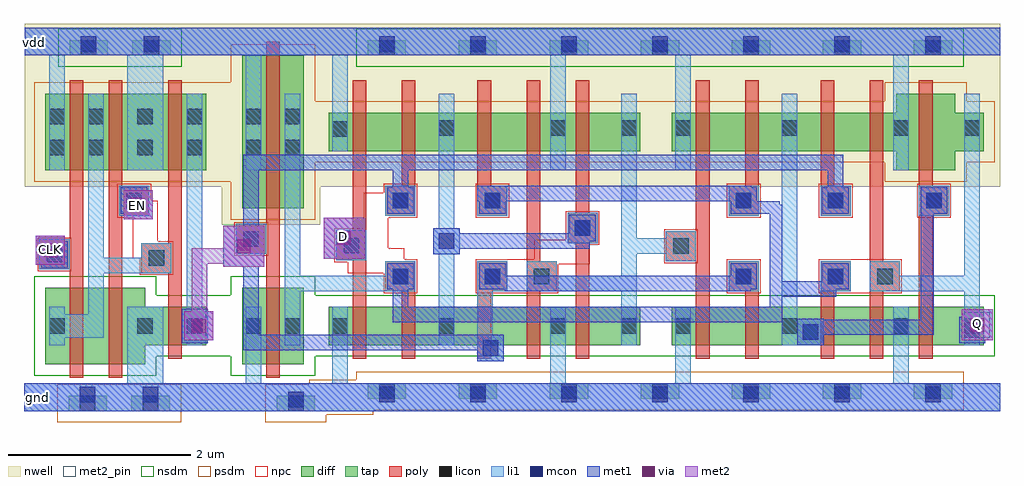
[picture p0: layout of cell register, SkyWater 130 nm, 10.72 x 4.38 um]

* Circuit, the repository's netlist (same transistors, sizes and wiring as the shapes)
* NGSPICE file created from register.ext - technology: sky130A

.subckt d_flip_flop CLK D Q gnd vdd
X0 inverter_1_out common_1 vdd vdd sky130_fd_pr__pfet_01v8 ad=0.235 pd=1.96 as=0.0819 ps=0.81 w=0.42 l=0.15
X1 gnd inverter_1_out a_494_0# gnd sky130_fd_pr__nfet_01v8 ad=0.0819 pd=0.81 as=0.0819 ps=0.81 w=0.42 l=0.15
X2 common_2 CLK_n a_974_426# vdd sky130_fd_pr__pfet_01v8 ad=0.143 pd=1.1 as=0.0819 ps=0.81 w=0.42 l=0.15
X3 gnd Q a_1248_0# gnd sky130_fd_pr__nfet_01v8 ad=0.0819 pd=0.81 as=0.0819 ps=0.81 w=0.42 l=0.15
X4 a_974_0# inverter_1_out gnd gnd sky130_fd_pr__nfet_01v8 ad=0.0819 pd=0.81 as=0.111 ps=1.37 w=0.42 l=0.15
X5 a_220_426# D vdd vdd sky130_fd_pr__pfet_01v8 ad=0.0819 pd=0.81 as=0.111 ps=1.37 w=0.42 l=0.15
X6 a_494_0# CLK common_1 gnd sky130_fd_pr__nfet_01v8 ad=0.0819 pd=0.81 as=0.143 ps=1.1 w=0.42 l=0.15
X7 a_1248_0# CLK_n common_2 gnd sky130_fd_pr__nfet_01v8 ad=0.0819 pd=0.81 as=0.143 ps=1.1 w=0.42 l=0.15
X8 CLK_n CLK vdd vdd sky130_fd_pr__pfet_01v8 ad=0.445 pd=3.89 as=0.445 ps=3.89 w=1.68 l=0.15
X9 common_1 CLK a_220_426# vdd sky130_fd_pr__pfet_01v8 ad=0.143 pd=1.1 as=0.0819 ps=0.81 w=0.42 l=0.15
X10 Q common_2 vdd vdd sky130_fd_pr__pfet_01v8 ad=0.34 pd=2.8 as=0.134 ps=1.23 w=0.84 l=0.15
X11 a_1248_426# CLK common_2 vdd sky130_fd_pr__pfet_01v8 ad=0.0819 pd=0.81 as=0.143 ps=1.1 w=0.42 l=0.15
X12 CLK_n CLK gnd gnd sky130_fd_pr__nfet_01v8 ad=0.223 pd=2.21 as=0.223 ps=2.21 w=0.84 l=0.15
X13 common_1 CLK_n a_220_0# gnd sky130_fd_pr__nfet_01v8 ad=0.143 pd=1.1 as=0.0819 ps=0.81 w=0.42 l=0.15
X14 vdd Q a_1248_426# vdd sky130_fd_pr__pfet_01v8 ad=0.134 pd=1.23 as=0.0819 ps=0.81 w=0.42 l=0.15
X15 common_2 CLK a_974_0# gnd sky130_fd_pr__nfet_01v8 ad=0.143 pd=1.1 as=0.0819 ps=0.81 w=0.42 l=0.15
X16 inverter_1_out common_1 gnd gnd sky130_fd_pr__nfet_01v8 ad=0.235 pd=1.96 as=0.0819 ps=0.81 w=0.42 l=0.15
X17 Q common_2 gnd gnd sky130_fd_pr__nfet_01v8 ad=0.235 pd=1.96 as=0.0819 ps=0.81 w=0.42 l=0.15
X18 a_494_426# CLK_n common_1 vdd sky130_fd_pr__pfet_01v8 ad=0.0819 pd=0.81 as=0.143 ps=1.1 w=0.42 l=0.15
X19 a_974_426# inverter_1_out vdd vdd sky130_fd_pr__pfet_01v8 ad=0.0819 pd=0.81 as=0.111 ps=1.37 w=0.42 l=0.15
X20 a_220_0# D gnd gnd sky130_fd_pr__nfet_01v8 ad=0.0819 pd=0.81 as=0.111 ps=1.37 w=0.42 l=0.15
X21 vdd inverter_1_out a_494_426# vdd sky130_fd_pr__pfet_01v8 ad=0.0819 pd=0.81 as=0.0819 ps=0.81 w=0.42 l=0.15
.ends

.subckt and2 A B Y gnd vdd
X0 vdd B Y_n vdd sky130_fd_pr__pfet_01v8 ad=0.212 pd=1.35 as=0.118 ps=1.12 w=0.84 l=0.15
X1 Y Y_n vdd vdd sky130_fd_pr__pfet_01v8 ad=0.223 pd=2.21 as=0.212 ps=1.35 w=0.84 l=0.15
X2 Y Y_n gnd gnd sky130_fd_pr__nfet_01v8 ad=0.111 pd=1.37 as=0.159 ps=1.35 w=0.42 l=0.15
X3 Y_n A vdd vdd sky130_fd_pr__pfet_01v8 ad=0.118 pd=1.12 as=0.223 ps=2.21 w=0.84 l=0.15
X4 gnd B a_30_n42# gnd sky130_fd_pr__nfet_01v8 ad=0.159 pd=1.35 as=0.118 ps=1.12 w=0.84 l=0.15
X5 a_30_n42# A Y_n gnd sky130_fd_pr__nfet_01v8 ad=0.118 pd=1.12 as=0.223 ps=2.21 w=0.84 l=0.15
.ends

.subckt register D CLK EN Q gnd vdd
Xd_flip_flop_0 and2_0/Y D Q gnd vdd d_flip_flop
Xand2_0 CLK EN and2_0/Y gnd vdd and2
.ends

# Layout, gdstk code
import gdstk
lib = gdstk.Library(unit=1e-6, precision=1e-09)
def R(c, l, rs):  # rectangles x0, y0, x1, y1
    for r in rs: c.add(gdstk.rectangle(r[:2], r[2:], *l))
def A(c, l, x, y, w, h, nx, ny, dx, dy):  # array of equal rectangles
    R(c, l, [(x+i*dx, y+j*dy, x+i*dx+w, y+j*dy+h) for i in range(nx) for j in range(ny)])
nwell = (64, 20)
diff = (65, 20)
tap = (65, 44)
poly = (66, 20)
licon = (66, 44)
li1 = (67, 20)
mcon = (67, 44)
met1 = (68, 20)
via = (68, 44)
met2_pin = (69, 16)
met2 = (69, 20)
nsdm = (93, 44)
psdm = (94, 20)
npc = (95, 20)

d_flip_flop = lib.new_cell('d_flip_flop')
R(d_flip_flop, nwell, [(-0.49,1.32,0.595,1.74), (-0.49,1.74,8.06,3.53)])
R(d_flip_flop, diff, [(-0.265,-0.21,0.415,0.63), (0.685,0,4.11,0.42), (4.455,0,7.88,0.42), (-0.265,1.5,0.415,3.18), (6.92,1.92,7.57,2.13), (0.685,2.13,4.11,2.55), (4.455,2.13,7.88,2.55), (6.92,2.55,7.57,2.76)])
A(d_flip_flop, tap, 1.115, -0.59, 0.42, 0.17, 7, 2, 1, 3.77)
R(d_flip_flop, tap, [(0.115,-0.725,0.535,-0.555)])
R(d_flip_flop, poly, [(0,-0.36,0.15,1), (0.95,-0.15,1.1,0.93), (1.49,-0.15,1.64,0.59), (2.32,-0.15,2.47,0.59), (2.86,-0.15,3.01,0.59), (3.4,-0.15,3.55,1.12), (4.72,-0.15,4.87,0.92), (5.26,-0.15,5.41,0.59), (6.09,-0.15,6.24,0.59), (6.63,-0.15,6.78,0.59), (7.17,-0.15,7.32,1.42), (1.31,0.59,1.64,0.92), (2.32,0.59,2.65,0.92), (2.86,0.59,3.19,0.92), (5.08,0.59,5.41,0.92), (6.09,0.59,6.42,0.92), (6.63,0.59,6.96,0.92), (2.86,0.92,3.01,2.91), (4.39,0.92,4.87,1.25), (6.63,0.92,6.78,2.91), (0.77,0.93,1.1,1.26), (-0.33,1,0.15,1.33), (3.31,1.12,3.64,1.45), (4.72,1.25,4.87,2.91), (0.95,1.26,1.1,2.91), (0,1.33,0.15,3.33), (1.31,1.42,1.64,1.75), (2.32,1.42,2.65,1.75), (5.08,1.42,5.41,1.75), (6.09,1.42,6.42,1.75), (7.17,1.42,7.5,1.75), (3.4,1.45,3.55,2.91), (1.49,1.75,1.64,2.91), (2.32,1.75,2.47,2.91), (5.26,1.75,5.41,2.91), (6.09,1.75,6.24,2.91), (7.17,1.75,7.32,2.91)])
A(d_flip_flop, licon, 1.24, -0.59, 0.17, 0.17, 7, 2, 1, 3.77)
R(d_flip_flop, licon, [(0.24,-0.725,0.41,-0.555), (-0.225,0.125,-0.055,0.295), (0.205,0.125,0.375,0.295), (0.725,0.125,0.895,0.295), (1.895,0.125,2.065,0.295), (3.12,0.125,3.29,0.295), (3.9,0.125,4.07,0.295), (4.495,0.125,4.665,0.295), (5.665,0.125,5.835,0.295), (6.89,0.125,7.06,0.295), (7.67,0.125,7.84,0.295), (1.39,0.67,1.56,0.84), (2.4,0.67,2.57,0.84), (2.94,0.67,3.11,0.84), (5.16,0.67,5.33,0.84), (6.17,0.67,6.34,0.84), (6.71,0.67,6.88,0.84), (4.47,1,4.64,1.17), (0.85,1.01,1.02,1.18), (-0.25,1.08,-0.08,1.25), (3.39,1.2,3.56,1.37), (1.39,1.5,1.56,1.67), (2.4,1.5,2.57,1.67), (5.16,1.5,5.33,1.67), (6.17,1.5,6.34,1.67), (7.25,1.5,7.42,1.67), (-0.225,2.085,-0.055,2.255), (0.205,2.085,0.375,2.255), (0.725,2.29,0.895,2.46), (1.895,2.3,2.065,2.47), (3.12,2.3,3.29,2.47), (3.9,2.3,4.07,2.47), (4.495,2.3,4.665,2.47), (5.665,2.3,5.835,2.47), (6.89,2.3,7.06,2.47), (7.67,2.3,7.84,2.47), (-0.225,2.425,-0.055,2.595), (0.205,2.425,0.375,2.595)])
R(d_flip_flop, li1, [(-0.49,-0.725,8.06,-0.42), (-0.225,-0.42,-0.055,0.42), (0.725,-0.42,0.895,0.42), (3.12,-0.42,3.29,0.42), (4.495,-0.42,4.665,0.42), (6.89,-0.42,7.06,0.42), (2.32,-0.18,2.61,0.11), (0.205,0,0.375,0.59), (1.895,0,2.065,0.995), (3.9,0,4.07,0.59), (5.665,0,6.125,0.29), (7.67,0,7.84,0.59), (2.32,0.11,2.49,0.59), (5.665,0.29,5.835,2.76), (0.205,0.59,1.64,0.76), (2.32,0.59,2.65,0.92), (2.86,0.59,4.07,0.76), (5.08,0.59,5.41,0.92), (6.09,0.59,6.42,0.92), (6.63,0.59,7.84,0.76), (0.205,0.76,0.375,2.76), (1.31,0.76,1.64,0.92), (2.86,0.76,3.19,0.92), (3.9,0.76,4.07,1), (6.63,0.76,6.96,0.92), (7.67,0.76,7.84,2.76), (4.39,0.92,4.72,1), (0.77,0.93,1.1,1.26), (1.835,0.995,2.125,1.285), (-0.33,1,0,1.33), (3.9,1,4.72,1.17), (3.31,1.12,3.64,1.45), (3.9,1.17,4.07,2.76), (4.39,1.17,4.72,1.25), (1.895,1.285,2.065,2.76), (1.31,1.42,1.64,1.75), (2.32,1.42,2.65,1.75), (5.08,1.42,5.41,1.75), (6.09,1.42,6.42,1.75), (7.17,1.42,7.5,1.75), (-0.225,1.92,-0.055,3.18), (3.12,1.92,3.29,3.18), (4.495,1.92,4.665,3.18), (6.89,1.92,7.06,3.18), (0.725,2.13,0.895,3.18), (-0.49,3.18,8.06,3.485)])
A(d_flip_flop, mcon, 1.24, -0.63, 0.17, 0.17, 7, 2, 1, 3.85)
R(d_flip_flop, mcon, [(0.24,-0.685,0.41,-0.515), (2.38,-0.12,2.55,0.05), (5.895,0.06,6.065,0.23), (7.67,0.08,7.84,0.25), (1.39,0.67,1.56,0.84), (2.4,0.67,2.57,0.84), (5.16,0.67,5.33,0.84), (6.17,0.67,6.34,0.84), (0.85,1.01,1.02,1.18), (1.895,1.055,2.065,1.225), (-0.25,1.08,-0.08,1.25), (3.39,1.2,3.56,1.37), (1.39,1.5,1.56,1.67), (2.4,1.5,2.57,1.67), (5.16,1.5,5.33,1.67), (6.17,1.5,6.34,1.67), (7.25,1.5,7.42,1.67)])
R(d_flip_flop, met1, [(-0.49,-0.725,8.06,-0.42), (2.32,-0.18,2.61,-0.06), (-0.25,-0.06,2.61,0.11), (5.835,0,6.125,0.11), (7.61,0.02,7.9,0.05), (7.61,0.05,7.98,0.31), (-0.25,0.11,-0.08,0.86), (5.835,0.11,7.33,0.28), (1.39,0.25,5.67,0.42), (5.835,0.28,6.125,0.29), (7.19,0.28,7.33,1.44), (7.64,0.31,7.98,0.39), (1.39,0.42,1.56,0.61), (5.53,0.42,5.67,0.53), (5.53,0.53,6.26,0.61), (2.62,0.59,5.32,0.61), (1.33,0.61,1.62,0.9), (2.34,0.61,5.39,0.76), (5.53,0.61,6.4,0.7), (5.53,0.7,5.67,1.44), (6.11,0.7,6.4,0.9), (2.34,0.76,2.63,0.9), (5.1,0.76,5.39,0.9), (-0.47,0.86,-0.02,1.31), (0.63,0.95,1.08,1.4), (1.835,0.995,2.125,1.055), (1.835,1.055,3.555,1.14), (1.835,1.14,3.62,1.225), (1.835,1.225,2.125,1.285), (3.33,1.225,3.62,1.43), (-0.25,1.31,-0.08,1.92), (1.33,1.44,1.62,1.73), (2.34,1.44,2.63,1.58), (5.1,1.44,5.67,1.54), (6.11,1.44,6.4,1.73), (7.19,1.44,7.48,1.73), (5.1,1.54,5.64,1.58), (2.32,1.58,5.39,1.73), (1.39,1.73,1.56,1.92), (2.32,1.73,5.33,1.75), (6.17,1.73,6.34,1.92), (-0.25,1.92,6.34,2.09), (-0.49,3.18,8.06,3.485)])
R(d_flip_flop, via, [(7.735,0.145,7.885,0.295), (-0.32,1.01,-0.17,1.16), (0.78,1.1,0.93,1.25)])
R(d_flip_flop, met2_pin, [(7.67,0.08,7.95,0.36), (0.85,1.01,1.02,1.18), (-0.25,1.08,-0.08,1.25)])
R(d_flip_flop, met2, [(7.64,0.05,7.98,0.39), (-0.47,0.86,-0.02,1.31), (0.63,0.95,1.08,1.4)])
R(d_flip_flop, nsdm, [(-0.39,-0.335,0.54,-0.125), (-0.39,-0.125,8.005,0.545), (-0.39,0.545,0.54,0.755), (0.99,3.055,7.66,3.475)])
R(d_flip_flop, psdm, [(-0.01,-0.85,0.66,-0.765), (-0.01,-0.765,1.175,-0.715), (-0.01,-0.715,7.66,-0.43), (0.475,-0.43,7.66,-0.38), (0.99,-0.38,7.66,-0.295), (-0.39,1.375,0.54,2.005), (6.795,1.795,7.695,2.005), (-0.39,2.005,8.005,2.675), (-0.39,2.675,0.54,3.305), (6.795,2.675,7.695,2.885)])
R(d_flip_flop, npc, [(1.29,0.57,1.66,0.79), (2.3,0.57,3.21,0.885), (5.06,0.57,5.43,0.94), (6.07,0.57,6.98,0.94), (0.895,0.79,1.66,0.91), (2.3,0.885,3.555,0.94), (4.37,0.9,4.74,1.27), (0.75,0.91,1.66,0.94), (0.75,0.94,1.515,1.06), (2.945,0.94,3.555,1.1), (-0.35,0.98,0.02,1.35), (0.75,1.06,1.34,1.28), (2.945,1.1,3.66,1.155), (3.29,1.155,3.66,1.47), (1.07,1.28,1.34,1.4), (1.07,1.4,1.66,1.67), (2.3,1.4,2.67,1.77), (5.06,1.4,5.43,1.77), (6.07,1.4,6.44,1.77), (7.15,1.4,7.52,1.77), (1.29,1.67,1.66,1.77)])
d_flip_flop.add(gdstk.Label('CLK_n', (0.29,0.68), layer=67, texttype=5))
d_flip_flop.add(gdstk.Label('common_1', (1.98,1.14), layer=68, texttype=5))
d_flip_flop.add(gdstk.Label('inverter_1_out', (4,1.09), layer=67, texttype=5))
d_flip_flop.add(gdstk.Label('common_2', (5.98,0.15), layer=68, texttype=5))
d_flip_flop.add(gdstk.Label('CLK', (-0.165,1.165), layer=69, texttype=5))
d_flip_flop.add(gdstk.Label('D', (0.935,1.095), layer=69, texttype=5))
d_flip_flop.add(gdstk.Label('Q', (7.81,0.22), layer=69, texttype=5))
d_flip_flop.add(gdstk.Label('gnd', (-0.34,-0.595), layer=67, texttype=5))
d_flip_flop.add(gdstk.Label('vdd', (-0.25,3.35), layer=67, texttype=5))

and2 = lib.new_cell('and2')
R(and2, nwell, [(-0.49,1.74,1.68,3.53)])
R(and2, diff, [(-0.265,-0.21,0.83,0), (-0.265,0,1.5,0.42), (-0.265,0.42,0.83,0.63), (-0.265,1.92,1.5,2.76)])
R(and2, tap, [(-0.01,-0.725,0.41,-0.555), (0.68,-0.725,1.1,-0.555), (0,3.18,0.42,3.35), (0.69,3.18,1.11,3.35)])
R(and2, poly, [(0,-0.36,0.15,0.83), (0.43,-0.36,0.58,1.42), (1.085,-0.15,1.235,0.79), (0.79,0.79,1.235,1.12), (-0.33,0.83,0.15,1.16), (1.085,1.12,1.235,2.91), (0,1.16,0.15,2.91), (0.43,1.42,0.875,1.75), (0.43,1.75,0.58,2.91)])
R(and2, licon, [(0.115,-0.725,0.285,-0.555), (0.805,-0.725,0.975,-0.555), (-0.225,0.125,-0.055,0.295), (0.745,0.125,0.915,0.295), (1.29,0.125,1.46,0.295), (0.87,0.87,1.04,1.04), (-0.25,0.91,-0.08,1.08), (0.625,1.5,0.795,1.67), (-0.225,2.085,-0.055,2.255), (0.205,2.085,0.375,2.255), (0.745,2.085,0.915,2.255), (1.29,2.085,1.46,2.255), (-0.225,2.425,-0.055,2.595), (0.205,2.425,0.375,2.595), (0.745,2.425,0.915,2.595), (1.29,2.425,1.46,2.595), (0.125,3.18,0.295,3.35), (0.815,3.18,0.985,3.35)])
R(and2, li1, [(-0.5,-0.725,1.67,-0.42), (0.635,-0.42,1.03,0.42), (-0.225,0,-0.055,0.08), (1.29,0,1.46,0.02), (1.23,0.02,1.52,0.4), (-0.225,0.08,0.375,0.34), (-0.225,0.34,-0.055,0.42), (0.205,0.34,0.375,0.79), (1.29,0.4,1.46,2.76), (0.205,0.79,1.12,0.96), (-0.33,0.83,0,1.16), (0.205,0.96,0.375,2.76), (0.79,0.96,1.12,1.12), (0.545,1.42,0.875,1.75), (-0.225,1.92,-0.055,3.18), (0.635,1.92,1.03,3.18), (-0.49,3.18,1.68,3.485)])
R(and2, mcon, [(0.115,-0.63,0.285,-0.46), (0.805,-0.63,0.975,-0.46), (1.29,0.125,1.46,0.295), (-0.25,0.91,-0.08,1.08), (0.625,1.5,0.795,1.67), (0.125,3.22,0.295,3.39), (0.815,3.22,0.985,3.39)])
R(and2, met1, [(-0.5,-0.725,1.67,-0.42), (1.23,0.02,1.52,0.05), (1.23,0.05,1.58,0.37), (1.23,0.37,1.52,0.4), (-0.31,0.85,-0.02,0.88), (-0.37,0.88,-0.02,1.14), (-0.37,1.14,-0.05,1.2), (0.595,1.38,0.915,1.44), (0.565,1.44,0.915,1.7), (0.565,1.7,0.855,1.73), (-0.49,3.18,1.68,3.485)])
R(and2, via, [(1.345,0.135,1.495,0.285), (-0.285,0.965,-0.135,1.115), (0.68,1.465,0.83,1.615)])
R(and2, met2, [(1.26,0.05,1.58,0.37), (-0.37,0.88,-0.05,1.2), (0.595,1.38,0.915,1.7)])
R(and2, nsdm, [(-0.39,-0.335,0.955,-0.125), (-0.39,-0.125,1.625,0.545), (-0.39,0.545,0.955,0.755), (-0.125,3.055,1.235,3.475)])
R(and2, psdm, [(-0.135,-0.85,1.225,-0.43), (-0.39,1.795,1.625,2.885)])
R(and2, npc, [(0.77,0.77,1.14,0.955), (-0.35,0.81,0.02,1.18), (0.695,0.955,1.14,1.14), (0.695,1.14,0.97,1.4), (0.525,1.4,0.97,1.585), (0.525,1.585,0.895,1.77)])
and2.add(gdstk.Label('Y_n', (0.955,0.955), layer=67, texttype=5))
and2.add(gdstk.Label('A', (-0.21,1.04), layer=69, texttype=5))
and2.add(gdstk.Label('B', (0.755,1.54), layer=69, texttype=5))
and2.add(gdstk.Label('Y', (1.42,0.21), layer=69, texttype=5))
and2.add(gdstk.Label('gnd', (-0.35,-0.58), layer=68, texttype=5))
and2.add(gdstk.Label('vdd', (-0.35,3.34), layer=68, texttype=5))

register = lib.new_cell('register')
R(register, met1, [(0,0,0.615,0.305), (0.01,3.905,0.625,4.21)])
R(register, met2, [(10.44,0.93,10.5,0.98), (1.84,1.08,2.01,1.62), (1.84,1.62,2.43,1.79), (0.26,1.74,0.32,1.79), (3.48,1.89,3.54,1.94), (1.22,2.24,1.28,2.29)])
R(register, nsdm, [(2.125,0.6,2.27,1.27)])
R(register, psdm, [(2.125,2.52,2.27,3.61)])
register.add(gdstk.Reference(d_flip_flop, (2.66,0.725)))
register.add(gdstk.Reference(and2, (0.5,0.725)))
register.add(gdstk.Label('D', (3.51,1.92), layer=69, texttype=5))
register.add(gdstk.Label('CLK', (0.29,1.77), layer=69, texttype=5))
register.add(gdstk.Label('EN', (1.25,2.26), layer=69, texttype=5))
register.add(gdstk.Label('Q', (10.47,0.96), layer=69, texttype=5))
register.add(gdstk.Label('gnd', (0.15,0.15), layer=68, texttype=5))
register.add(gdstk.Label('vdd', (0.12,4.05), layer=68, texttype=5))

lib.write_gds('register.gds')
